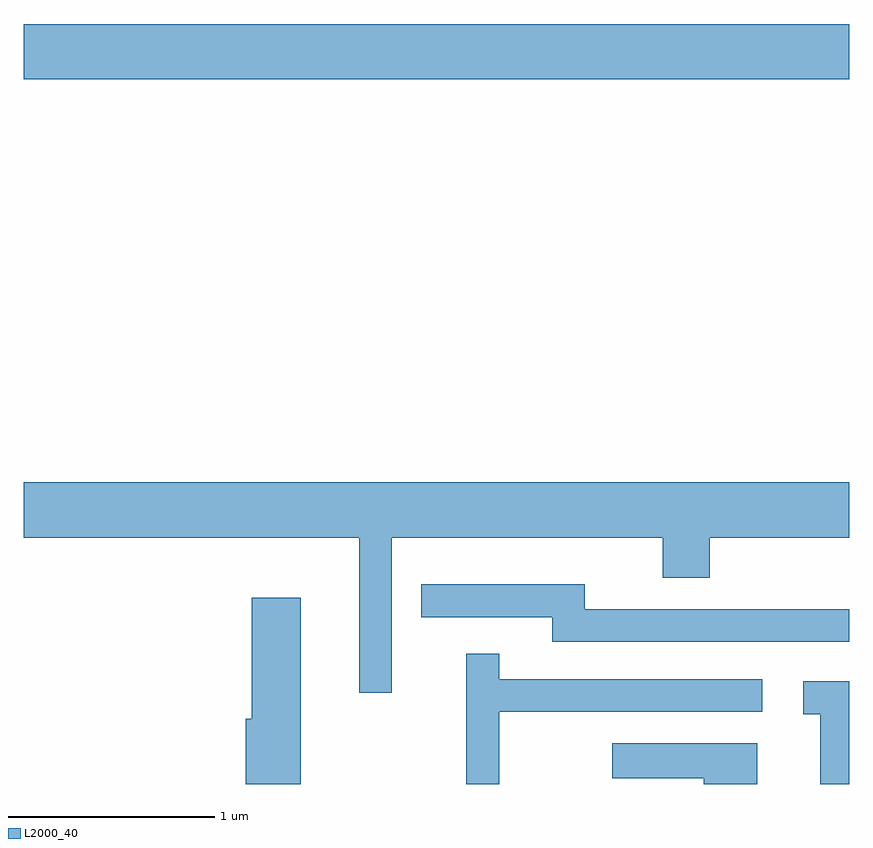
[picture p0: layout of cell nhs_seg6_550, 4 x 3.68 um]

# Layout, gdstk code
import gdstk
lib = gdstk.Library(unit=1e-6, precision=1e-09)
def R(c, l, rs):  # rectangles x0, y0, x1, y1
    for r in rs: c.add(gdstk.rectangle(r[:2], r[2:], *l))
def P(c, l, *ps):  # polygons
    for p in ps: c.add(gdstk.Polygon(p, *l))
L2000_40 = (2000, 40)

nhs_seg6_550 = lib.new_cell('nhs_seg6_550')
R(nhs_seg6_550, L2000_40, [(201.611,1565.576,205.611,1565.844)])
P(nhs_seg6_550, L2000_40, [(203.394,1563.356),(204.706,1563.356),(204.706,1563.161),(204.934,1563.161),(204.934,1563.356),(205.611,1563.356),(205.611,1563.624),(201.611,1563.624),(201.611,1563.356),(203.236,1563.356),(203.236,1562.603),(203.394,1562.603)],
  [(205.611,1563.009),(204.329,1563.009),(204.329,1563.129),(203.538,1563.129),(203.538,1562.971),(204.171,1562.971),(204.171,1562.851),(205.611,1562.851)],
  [(202.954,1563.064),(202.716,1563.064),(202.716,1562.479),(202.686,1562.479),(202.686,1562.162),(202.954,1562.162)],
  [(203.914,1562.511),(205.188,1562.511),(205.188,1562.669),(203.914,1562.669),(203.914,1562.793),(203.756,1562.793),(203.756,1562.162),(203.914,1562.162)],
  [(205.611,1562.659),(205.388,1562.659),(205.388,1562.501),(205.471,1562.501),(205.471,1562.162),(205.611,1562.162)],
  [(205.164,1562.359),(204.463,1562.359),(204.463,1562.191),(204.906,1562.191),(204.906,1562.162),(205.164,1562.162)])

lib.write_gds('nhs_seg6_550.gds')
